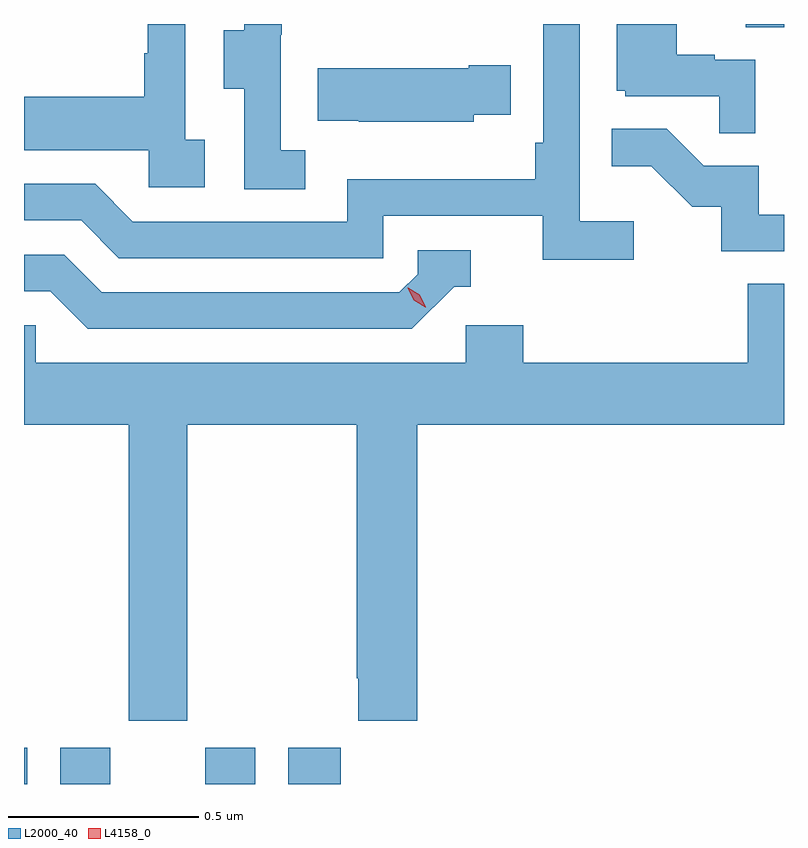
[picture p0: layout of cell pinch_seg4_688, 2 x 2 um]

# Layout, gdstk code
import gdstk
lib = gdstk.Library(unit=1e-6, precision=1e-09)
def R(c, l, rs):  # rectangles x0, y0, x1, y1
    for r in rs: c.add(gdstk.rectangle(r[:2], r[2:], *l))
def P(c, l, *ps):  # polygons
    for p in ps: c.add(gdstk.Polygon(p, *l))
L2000_40 = (2000, 40)
L4158_0 = (4158, 0)

pinch_seg4_688 = lib.new_cell('pinch_seg4_688')
R(pinch_seg4_688, L2000_40, [(1138.364,753.251,1138.372,753.346), (1138.46,753.251,1138.591,753.346), (1138.841,753.251,1138.972,753.346), (1139.06,753.251,1139.197,753.346), (1140.263,755.242,1140.364,755.251)])
P(pinch_seg4_688, L2000_40, [(1139.104,754.919),(1139.04,754.919),(1139.04,755.223),(1139.042,755.223),(1139.042,755.251),(1138.943,755.251),(1138.943,755.235),(1138.889,755.235),(1138.889,755.08),(1138.944,755.08),(1138.944,754.816),(1139.104,754.816)],
  [(1140.288,755.157),(1140.182,755.157),(1140.182,755.17),(1140.082,755.17),(1140.082,755.251),(1139.924,755.251),(1139.924,755.076),(1139.946,755.076),(1139.946,755.061),(1140.193,755.061),(1140.193,754.963),(1140.288,754.963)],
  [(1138.84,754.946),(1138.788,754.946),(1138.788,755.251),(1138.69,755.251),(1138.69,755.174),(1138.68,755.174),(1138.68,755.059),(1138.364,755.059),(1138.364,754.919),(1138.692,754.919),(1138.692,754.821),(1138.84,754.821)],
  [(1139.968,754.732),(1139.826,754.732),(1139.826,755.251),(1139.73,755.251),(1139.73,754.939),(1139.71,754.939),(1139.71,754.843),(1139.214,754.843),(1139.214,754.731),(1138.65,754.731),(1138.551,754.83),(1138.364,754.83),(1138.364,754.734),(1138.514,754.734),(1138.613,754.635),(1139.31,754.635),(1139.31,754.746),(1139.729,754.746),(1139.729,754.63),(1139.968,754.63)],
  [(1139.547,755.012),(1139.645,755.012),(1139.645,755.142),(1139.534,755.142),(1139.534,755.134),(1139.137,755.134),(1139.137,754.997),(1139.245,754.997),(1139.245,754.994),(1139.547,754.994)],
  [(1140.364,754.749),(1140.297,754.749),(1140.297,754.878),(1140.153,754.878),(1140.055,754.976),(1139.911,754.976),(1139.911,754.877),(1140.015,754.877),(1140.122,754.77),(1140.199,754.77),(1140.199,754.653),(1140.364,754.653)],
  [(1139.496,754.56),(1139.539,754.56),(1139.539,754.656),(1139.4,754.656),(1139.4,754.593),(1139.352,754.545),(1138.569,754.545),(1138.47,754.644),(1138.364,754.644),(1138.364,754.548),(1138.433,754.548),(1138.532,754.449),(1139.385,754.449)],
  [(1138.794,754.196),(1139.239,754.196),(1139.239,753.529),(1139.243,753.529),(1139.243,753.417),(1139.399,753.417),(1139.399,754.196),(1140.364,754.196),(1140.364,754.568),(1140.269,754.568),(1140.269,754.36),(1139.678,754.36),(1139.678,754.458),(1139.526,754.458),(1139.526,754.36),(1138.395,754.36),(1138.395,754.458),(1138.364,754.458),(1138.364,754.196),(1138.639,754.196),(1138.639,753.417),(1138.794,753.417)])
P(pinch_seg4_688, L4158_0, [(1139.42,754.505),(1139.39,754.524),(1139.374,754.557),(1139.374,754.557),(1139.375,754.557),(1139.405,754.538),(1139.421,754.505),(1139.421,754.505)])

lib.write_gds('pinch_seg4_688.gds')
